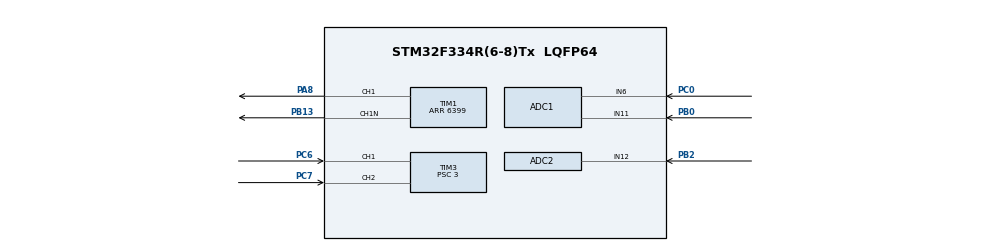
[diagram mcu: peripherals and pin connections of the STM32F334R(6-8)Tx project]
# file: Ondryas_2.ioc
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ADC1.Channel-0\#ChannelRegularConversion=ADC_CHANNEL_6
ADC1.Channel-1\#ChannelRegularConversion=ADC_CHANNEL_11
ADC1.DMAContinuousRequests=ENABLE
ADC1.EOCSelection=ADC_EOC_SEQ_CONV
ADC1.EnableInjectedConversion=DISABLE
ADC1.ExternalTrigConv=ADC_EXTERNALTRIGCONV_T1_TRGO2
ADC1.Mode=ADC_MODE_INDEPENDENT
ADC1.NbrOfConversion=2
ADC1.NbrOfConversionFlag=1
ADC1.Offset-0\#ChannelRegularConversion=2048
ADC1.Offset-1\#ChannelRegularConversion=2048
ADC1.OffsetNumber-0\#ChannelRegularConversion=ADC_OFFSET_1
ADC1.OffsetNumber-1\#ChannelRegularConversion=ADC_OFFSET_NONE
ADC1.Rank-0\#ChannelRegularConversion=1
ADC1.Rank-1\#ChannelRegularConversion=2
ADC1.SamplingTime-0\#ChannelRegularConversion=ADC_SAMPLETIME_19CYCLES_5
ADC1.SamplingTime-1\#ChannelRegularConversion=ADC_SAMPLETIME_61CYCLES_5
ADC1.SubFamily=STM32F334x8
ADC1.master=1
ADC2.Channel-0\#ChannelRegularConversion=ADC_CHANNEL_12
ADC2.ContinuousConvMode=DISABLE
ADC2.DMAContinuousRequests=ENABLE
ADC2.EOCSelection=ADC_EOC_SINGLE_CONV
ADC2.EnableInjectedConversion=DISABLE
ADC2.ExternalTrigConv=ADC_EXTERNALTRIGCONV_T1_TRGO2
ADC2.NbrOfConversionFlag=1
ADC2.Offset-0\#ChannelRegularConversion=0
ADC2.OffsetNumber-0\#ChannelRegularConversion=ADC_OFFSET_NONE
ADC2.Rank-0\#ChannelRegularConversion=1
ADC2.SamplingTime-0\#ChannelRegularConversion=ADC_SAMPLETIME_61CYCLES_5
ADC2.SubFamily=STM32F334x8
Dma.ADC1.0.Direction=DMA_PERIPH_TO_MEMORY
Dma.ADC1.0.Instance=DMA1_Channel1
Dma.ADC1.0.MemDataAlignment=DMA_MDATAALIGN_HALFWORD
Dma.ADC1.0.MemInc=DMA_MINC_ENABLE
Dma.ADC1.0.Mode=DMA_CIRCULAR
Dma.ADC1.0.PeriphDataAlignment=DMA_PDATAALIGN_HALFWORD
Dma.ADC1.0.PeriphInc=DMA_PINC_DISABLE
Dma.ADC1.0.Priority=DMA_PRIORITY_LOW
Dma.ADC2.1.Direction=DMA_PERIPH_TO_MEMORY
Dma.ADC2.1.Instance=DMA1_Channel2
Dma.ADC2.1.MemDataAlignment=DMA_MDATAALIGN_HALFWORD
Dma.ADC2.1.MemInc=DMA_MINC_DISABLE
Dma.ADC2.1.Mode=DMA_CIRCULAR
Dma.ADC2.1.PeriphDataAlignment=DMA_PDATAALIGN_HALFWORD
Dma.ADC2.1.PeriphInc=DMA_PINC_DISABLE
Dma.ADC2.1.Priority=DMA_PRIORITY_LOW
Dma.Request0=ADC1
Dma.Request1=ADC2
Mcu.Family=STM32F3
Mcu.Name=STM32F334R(6-8)Tx
Mcu.Package=LQFP64
NVIC.DMA1_Channel1_IRQn=true\:0\:0\:false\:false\:true\:false\:true
NVIC.DMA1_Channel2_IRQn=true\:0\:0\:false\:false\:true\:false\:true
NVIC.PriorityGroup=NVIC_PRIORITYGROUP_0
PA13.Mode=Trace_Asynchronous_SW
PA13.Signal=SYS_JTMS-SWDIO
PA14.Mode=Trace_Asynchronous_SW
PA14.Signal=SYS_JTCK-SWCLK
PA8.Signal=S_TIM1_CH1
PB0.Mode=IN11-Single-Ended
PB0.Signal=ADC1_IN11
PB13.Mode=PWM Generation1 CH1 CH1N
PB13.Signal=TIM1_CH1N
PB2.Mode=IN12-Single-Ended
PB2.Signal=ADC2_IN12
PB3.Mode=Trace_Asynchronous_SW
PB3.Signal=SYS_JTDO-TRACESWO
PC0.Signal=ADCx_IN6
PC6.Signal=S_TIM3_CH1
PC7.Signal=S_TIM3_CH2
ProjectManager.HeapSize=0x200
ProjectManager.StackSize=0x400
ProjectManager.TargetToolchain=STM32CubeIDE
RCC.AHBFreq_Value=64000000
RCC.APB1CLKDivider=RCC_HCLK_DIV2
RCC.APB1Freq_Value=32000000
RCC.APB1TimFreq_Value=64000000
RCC.APB2Freq_Value=64000000
RCC.APB2TimFreq_Value=64000000
RCC.CortexFreq_Value=64000000
RCC.FLatency-AdvancedSettings=FLASH_LATENCY_2
RCC.HCLKFreq_Value=64000000
RCC.HSE_VALUE=8000000
RCC.HSI_VALUE=8000000
RCC.LSE_VALUE=32768
RCC.PLLMUL=RCC_PLL_MUL16
RCC.SYSCLKFreq_VALUE=64000000
RCC.SYSCLKSourceVirtual=RCC_SYSCLKSOURCE_PLLCLK
RCC.TIM1Selection=RCC_TIM1CLK_PLLCLK
SH.ADCx_IN6.0=ADC1_IN6,IN6-Single-Ended
SH.S_TIM1_CH1.0=TIM1_CH1,PWM Generation1 CH1 CH1N
SH.S_TIM3_CH1.0=TIM3_CH1,Encoder_Interface
SH.S_TIM3_CH2.0=TIM3_CH2,Encoder_Interface
TIM1.AutoReloadPreload=TIM_AUTORELOAD_PRELOAD_ENABLE
TIM1.Channel-PWM\ Generation1\ CH1\ CH1N=TIM_CHANNEL_1
TIM1.Channel-PWM\ Generation6\ No\ Output=TIM_CHANNEL_6
TIM1.CounterMode=TIM_COUNTERMODE_CENTERALIGNED1
TIM1.DeadTime=127
TIM1.Period=6399
TIM1.Pulse-PWM\ Generation1\ CH1\ CH1N=0
TIM1.Pulse-PWM\ Generation6\ No\ Output=6398
TIM1.TIM_MasterOutputTrigger2=TIM_TRGO2_OC6REF
TIM3.EncoderMode=TIM_ENCODERMODE_TI12
TIM3.IC1Filter=5
TIM3.IC1Polarity=TIM_ICPOLARITY_FALLING
TIM3.IC2Filter=5
TIM3.IC2Polarity=TIM_ICPOLARITY_FALLING
TIM3.Period=23
TIM3.Prescaler=3
TIM3.TIM_MasterOutputTrigger=TIM_TRGO_UPDATE
TIM3.TIM_MasterSlaveMode=TIM_MASTERSLAVEMODE_ENABLE
VP_TIM1_VS_ClockSourceINT.Mode=Internal
VP_TIM1_VS_no_output6.Mode=PWM Generation6 No Output
board=NUCLEO-F334R8

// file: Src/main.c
/* USER CODE BEGIN Header */
/**
  ******************************************************************************
  * @file           : main.c
  * @brief          : Main program body
  ******************************************************************************
  * @attention
  *
  * <h2><center>&copy; Copyright (c) 2020 STMicroelectronics.
  * All rights reserved.</center></h2>
  *
  * This software component is licensed by ST under BSD 3-Clause license,
  * the "License"; You may not use this file except in compliance with the
  * License. You may obtain a copy of the License at:
  *                        opensource.org/licenses/BSD-3-Clause
  *
  ******************************************************************************
  */
/* USER CODE END Header */

#include "main.h"

/* USER CODE BEGIN PV */
// Promenne pro napeti meziobvodu a proud vetvi z ADc
measurements_t Measurements;

Type_PI_Napeti struktura_PI_napeti;
Type_PI_Proud struktura_PI_proud;
Type_FiltrMenic struktura_menic;
Type_RL_Obvod struktura_RL_obvod;
Type_Kondenzator struktura_kondenzator;

Type_PointerStructure pointer_structure;

/* USER CODE END PV */

void SystemClock_Config(void);
static void MX_GPIO_Init(void);
static void MX_DMA_Init(void);
static void MX_ADC1_Init(void);
static void MX_ADC2_Init(void);
static void MX_TIM1_Init(void);
static void MX_TIM3_Init(void);
/* USER CODE BEGIN PFP */
void PointersInit(Type_PointerStructure *pointer_structure);
/* USER CODE END PFP */

int main(void)
{

  /* MCU Configuration--------------------------------------------------------*/

  /* Reset of all peripherals, Initializes the Flash interface and the Systick. */

  LL_APB2_GRP1_EnableClock(LL_APB2_GRP1_PERIPH_SYSCFG);
  LL_APB1_GRP1_EnableClock(LL_APB1_GRP1_PERIPH_PWR);

  NVIC_SetPriorityGrouping(NVIC_PRIORITYGROUP_0);

  /* System interrupt init*/

  /* USER CODE BEGIN Init */

  // Inicializace struktury pointeru

  PointersInit(&pointer_structure); // vstupem je pointer na strukturu pointeru a promennych

  // Inicializace hodnot Proudove Smycky
  KaskadniRegulaceInit(&pointer_structure);

  /* USER CODE END Init */

  /* Configure the system clock */
  SystemClock_Config();

  /* Initialize all configured peripherals */
  MX_GPIO_Init();
  MX_DMA_Init();
  MX_ADC1_Init();
  MX_ADC2_Init();
  MX_TIM1_Init();
  MX_TIM3_Init();
  /* USER CODE BEGIN 2 */

  LL_SYSTICK_EnableIT();
  // Init sekvence DMA, adresy atd
  // Nastaveni zdrojove adresy, odkud ma brat hodnoty, tedy ADc

  // CHANNEL 1, Synch. mereni proudu a napeti meziobvodu
  LL_DMA_SetPeriphAddress(DMA1, LL_DMA_CHANNEL_1, LL_ADC_DMA_GetRegAddr(ADC1, LL_ADC_DMA_REG_REGULAR_DATA));

  // CHANNEL 2, Continuous mereni hodnoty Potenciometru
  LL_DMA_SetPeriphAddress(DMA1, LL_DMA_CHANNEL_2, LL_ADC_DMA_GetRegAddr(ADC2, LL_ADC_DMA_REG_REGULAR_DATA));

  // nastaveni cilove adresy DMA
  LL_DMA_SetMemoryAddress(DMA1, LL_DMA_CHANNEL_1,(uint32_t) &Measurements);
  LL_DMA_SetMemoryAddress(DMA1, LL_DMA_CHANNEL_2, (uint32_t) &pointer_structure.PotValue);

  // nastaveni poctu prenasenych dat = pocet prvku pole = pocet AD prevodu
  LL_DMA_SetDataLength(DMA1, LL_DMA_CHANNEL_1, 2);
  LL_DMA_SetDataLength(DMA1, LL_DMA_CHANNEL_2, 1);

  // povoleni DMA
  LL_DMA_EnableChannel(DMA1, LL_DMA_CHANNEL_1);
  LL_DMA_EnableChannel(DMA1, LL_DMA_CHANNEL_2);

  //povoleni preruseni od DMA
  LL_DMA_EnableIT_TC(DMA1, LL_DMA_CHANNEL_1);

  // Init sekvence ADC1 a ADC2
  // Povoleni interniho regulatoru a pockani na ustaleni jeho napeti, pote kalibrace a povoleni
  LL_ADC_EnableInternalRegulator(ADC1);
  LL_ADC_EnableInternalRegulator(ADC2);
  uint32_t cekej10mili = 640000;
  while(--cekej10mili)__NOP();

  // Zahajeni Kalibrace
  LL_ADC_StartCalibration(ADC1, LL_ADC_SINGLE_ENDED);
  LL_ADC_StartCalibration(ADC2, LL_ADC_SINGLE_ENDED);
  while(LL_ADC_IsCalibrationOnGoing(ADC1));
  while(LL_ADC_IsCalibrationOnGoing(ADC2));

  //povoleni ADc
  LL_ADC_Enable(ADC1);
  LL_ADC_Enable(ADC2);

  // zahajit konverzi dat
  LL_ADC_REG_StartConversion(ADC1);
  LL_ADC_REG_StartConversion(ADC2);

  // Povoleni a spusteni timeru PWM
  LL_TIM_CC_EnableChannel(TIM1, LL_TIM_CHANNEL_CH1 | LL_TIM_CHANNEL_CH1N);
  LL_TIM_EnableAllOutputs(TIM1);
  LL_TIM_EnableCounter(TIM1);
  LL_TIM_OC_SetCompareCH1(TIM1, 6000); // libovolna pocatecni strida

  // Povoleni a spusteni TIM3 pro enkoder
  LL_TIM_EnableCounter(TIM3);

  /* USER CODE END 2 */

  /* Infinite loop */
  while (1)
  {

  }
}

void SystemClock_Config(void)
{
  LL_FLASH_SetLatency(LL_FLASH_LATENCY_2);

   if(LL_FLASH_GetLatency() != LL_FLASH_LATENCY_2)
  {
  Error_Handler();
  }
  LL_RCC_HSI_Enable();

   /* Wait till HSI is ready */
  while(LL_RCC_HSI_IsReady() != 1)
  {

  }
  LL_RCC_HSI_SetCalibTrimming(16);
  LL_RCC_PLL_ConfigDomain_SYS(LL_RCC_PLLSOURCE_HSI_DIV_2, LL_RCC_PLL_MUL_16);
  LL_RCC_PLL_Enable();

   /* Wait till PLL is ready */
  while(LL_RCC_PLL_IsReady() != 1)
  {

  }
  LL_RCC_SetAHBPrescaler(LL_RCC_SYSCLK_DIV_1);
  LL_RCC_SetAPB1Prescaler(LL_RCC_APB1_DIV_2);
  LL_RCC_SetAPB2Prescaler(LL_RCC_APB1_DIV_1);
  LL_RCC_SetSysClkSource(LL_RCC_SYS_CLKSOURCE_PLL);

   /* Wait till System clock is ready */
  while(LL_RCC_GetSysClkSource() != LL_RCC_SYS_CLKSOURCE_STATUS_PLL)
  {

  }
  LL_Init1msTick(64000000);
  LL_SetSystemCoreClock(64000000);
  LL_RCC_SetTIMClockSource(LL_RCC_TIM1_CLKSOURCE_PLL);
  LL_RCC_SetADCClockSource(LL_RCC_ADC12_CLKSRC_PLL_DIV_1);
}

static void MX_ADC1_Init(void)
{

  LL_ADC_InitTypeDef ADC_InitStruct = {0};
  LL_ADC_REG_InitTypeDef ADC_REG_InitStruct = {0};
  LL_ADC_CommonInitTypeDef ADC_CommonInitStruct = {0};

  LL_GPIO_InitTypeDef GPIO_InitStruct = {0};

  /* Peripheral clock enable */
  LL_AHB1_GRP1_EnableClock(LL_AHB1_GRP1_PERIPH_ADC12);

  LL_AHB1_GRP1_EnableClock(LL_AHB1_GRP1_PERIPH_GPIOC);
  LL_AHB1_GRP1_EnableClock(LL_AHB1_GRP1_PERIPH_GPIOB);
  /**ADC1 GPIO Configuration
  PC0   ------> ADC1_IN6
  PB0   ------> ADC1_IN11
  */
  GPIO_InitStruct.Pin = LL_GPIO_PIN_0;
  GPIO_InitStruct.Mode = LL_GPIO_MODE_ANALOG;
  GPIO_InitStruct.Pull = LL_GPIO_PULL_NO;
  LL_GPIO_Init(GPIOC, &GPIO_InitStruct);

  GPIO_InitStruct.Pin = LL_GPIO_PIN_0;
  GPIO_InitStruct.Mode = LL_GPIO_MODE_ANALOG;
  GPIO_InitStruct.Pull = LL_GPIO_PULL_NO;
  LL_GPIO_Init(GPIOB, &GPIO_InitStruct);

  /* ADC1 DMA Init */

  /* ADC1 Init */
  LL_DMA_SetDataTransferDirection(DMA1, LL_DMA_CHANNEL_1, LL_DMA_DIRECTION_PERIPH_TO_MEMORY);

  LL_DMA_SetChannelPriorityLevel(DMA1, LL_DMA_CHANNEL_1, LL_DMA_PRIORITY_LOW);

  LL_DMA_SetMode(DMA1, LL_DMA_CHANNEL_1, LL_DMA_MODE_CIRCULAR);

  LL_DMA_SetPeriphIncMode(DMA1, LL_DMA_CHANNEL_1, LL_DMA_PERIPH_NOINCREMENT);

  LL_DMA_SetMemoryIncMode(DMA1, LL_DMA_CHANNEL_1, LL_DMA_MEMORY_INCREMENT);

  LL_DMA_SetPeriphSize(DMA1, LL_DMA_CHANNEL_1, LL_DMA_PDATAALIGN_HALFWORD);

  LL_DMA_SetMemorySize(DMA1, LL_DMA_CHANNEL_1, LL_DMA_MDATAALIGN_HALFWORD);

  /** Common config
  */
  ADC_InitStruct.Resolution = LL_ADC_RESOLUTION_12B;
  ADC_InitStruct.DataAlignment = LL_ADC_DATA_ALIGN_RIGHT;
  ADC_InitStruct.LowPowerMode = LL_ADC_LP_MODE_NONE;
  LL_ADC_Init(ADC1, &ADC_InitStruct);
  ADC_REG_InitStruct.TriggerSource = LL_ADC_REG_TRIG_EXT_TIM1_TRGO2;
  ADC_REG_InitStruct.SequencerLength = LL_ADC_REG_SEQ_SCAN_ENABLE_2RANKS;
  ADC_REG_InitStruct.SequencerDiscont = LL_ADC_REG_SEQ_DISCONT_DISABLE;
  ADC_REG_InitStruct.ContinuousMode = LL_ADC_REG_CONV_SINGLE;
  ADC_REG_InitStruct.DMATransfer = LL_ADC_REG_DMA_TRANSFER_UNLIMITED;
  ADC_REG_InitStruct.Overrun = LL_ADC_REG_OVR_DATA_OVERWRITTEN;
  LL_ADC_REG_Init(ADC1, &ADC_REG_InitStruct);
  LL_ADC_DisableIT_EOC(ADC1);
  LL_ADC_DisableIT_EOS(ADC1);
  ADC_CommonInitStruct.CommonClock = LL_ADC_CLOCK_ASYNC_DIV1;
  ADC_CommonInitStruct.Multimode = LL_ADC_MULTI_INDEPENDENT;
  LL_ADC_CommonInit(__LL_ADC_COMMON_INSTANCE(ADC1), &ADC_CommonInitStruct);
  LL_ADC_REG_SetTriggerEdge(ADC1, LL_ADC_REG_TRIG_EXT_RISING);
  /** Configure Regular Channel
  */
  LL_ADC_REG_SetSequencerRanks(ADC1, LL_ADC_REG_RANK_1, LL_ADC_CHANNEL_6);
  LL_ADC_SetChannelSamplingTime(ADC1, LL_ADC_CHANNEL_6, LL_ADC_SAMPLINGTIME_19CYCLES_5);
  LL_ADC_SetChannelSingleDiff(ADC1, LL_ADC_CHANNEL_6, LL_ADC_SINGLE_ENDED);
  LL_ADC_SetOffset(ADC1, LL_ADC_OFFSET_1, LL_ADC_CHANNEL_6, 2048);
  /** Configure Regular Channel
  */
  LL_ADC_REG_SetSequencerRanks(ADC1, LL_ADC_REG_RANK_2, LL_ADC_CHANNEL_11);
  LL_ADC_SetChannelSamplingTime(ADC1, LL_ADC_CHANNEL_11, LL_ADC_SAMPLINGTIME_61CYCLES_5);
  LL_ADC_SetChannelSingleDiff(ADC1, LL_ADC_CHANNEL_11, LL_ADC_SINGLE_ENDED);

}

static void MX_ADC2_Init(void)
{

  LL_ADC_InitTypeDef ADC_InitStruct = {0};
  LL_ADC_REG_InitTypeDef ADC_REG_InitStruct = {0};

  LL_GPIO_InitTypeDef GPIO_InitStruct = {0};

  /* Peripheral clock enable */
  LL_AHB1_GRP1_EnableClock(LL_AHB1_GRP1_PERIPH_ADC12);

  LL_AHB1_GRP1_EnableClock(LL_AHB1_GRP1_PERIPH_GPIOB);
  /**ADC2 GPIO Configuration
  PB2   ------> ADC2_IN12
  */
  GPIO_InitStruct.Pin = LL_GPIO_PIN_2;
  GPIO_InitStruct.Mode = LL_GPIO_MODE_ANALOG;
  GPIO_InitStruct.Pull = LL_GPIO_PULL_NO;
  LL_GPIO_Init(GPIOB, &GPIO_InitStruct);

  /* ADC2 DMA Init */

  /* ADC2 Init */
  LL_DMA_SetDataTransferDirection(DMA1, LL_DMA_CHANNEL_2, LL_DMA_DIRECTION_PERIPH_TO_MEMORY);

  LL_DMA_SetChannelPriorityLevel(DMA1, LL_DMA_CHANNEL_2, LL_DMA_PRIORITY_LOW);

  LL_DMA_SetMode(DMA1, LL_DMA_CHANNEL_2, LL_DMA_MODE_CIRCULAR);

  LL_DMA_SetPeriphIncMode(DMA1, LL_DMA_CHANNEL_2, LL_DMA_PERIPH_NOINCREMENT);

  LL_DMA_SetMemoryIncMode(DMA1, LL_DMA_CHANNEL_2, LL_DMA_MEMORY_NOINCREMENT);

  LL_DMA_SetPeriphSize(DMA1, LL_DMA_CHANNEL_2, LL_DMA_PDATAALIGN_HALFWORD);

  LL_DMA_SetMemorySize(DMA1, LL_DMA_CHANNEL_2, LL_DMA_MDATAALIGN_HALFWORD);

  /** Common config
  */
  ADC_InitStruct.Resolution = LL_ADC_RESOLUTION_12B;
  ADC_InitStruct.DataAlignment = LL_ADC_DATA_ALIGN_RIGHT;
  ADC_InitStruct.LowPowerMode = LL_ADC_LP_MODE_NONE;
  LL_ADC_Init(ADC2, &ADC_InitStruct);
  ADC_REG_InitStruct.TriggerSource = LL_ADC_REG_TRIG_EXT_TIM1_TRGO2;
  ADC_REG_InitStruct.SequencerLength = LL_ADC_REG_SEQ_SCAN_DISABLE;
  ADC_REG_InitStruct.SequencerDiscont = LL_ADC_REG_SEQ_DISCONT_DISABLE;
  ADC_REG_InitStruct.ContinuousMode = LL_ADC_REG_CONV_SINGLE;
  ADC_REG_InitStruct.DMATransfer = LL_ADC_REG_DMA_TRANSFER_UNLIMITED;
  ADC_REG_InitStruct.Overrun = LL_ADC_REG_OVR_DATA_OVERWRITTEN;
  LL_ADC_REG_Init(ADC2, &ADC_REG_InitStruct);
  LL_ADC_DisableIT_EOC(ADC2);
  LL_ADC_DisableIT_EOS(ADC2);
  LL_ADC_REG_SetTriggerEdge(ADC2, LL_ADC_REG_TRIG_EXT_RISING);
  /** Configure Regular Channel
  */
  LL_ADC_REG_SetSequencerRanks(ADC2, LL_ADC_REG_RANK_1, LL_ADC_CHANNEL_12);
  LL_ADC_SetChannelSamplingTime(ADC2, LL_ADC_CHANNEL_12, LL_ADC_SAMPLINGTIME_61CYCLES_5);
  LL_ADC_SetChannelSingleDiff(ADC2, LL_ADC_CHANNEL_12, LL_ADC_SINGLE_ENDED);

}

static void MX_TIM1_Init(void)
{

  LL_TIM_InitTypeDef TIM_InitStruct = {0};
  LL_TIM_OC_InitTypeDef TIM_OC_InitStruct = {0};
  LL_TIM_BDTR_InitTypeDef TIM_BDTRInitStruct = {0};

  LL_GPIO_InitTypeDef GPIO_InitStruct = {0};

  /* Peripheral clock enable */
  LL_APB2_GRP1_EnableClock(LL_APB2_GRP1_PERIPH_TIM1);

  TIM_InitStruct.Prescaler = 0;
  TIM_InitStruct.CounterMode = LL_TIM_COUNTERMODE_CENTER_UP;
  TIM_InitStruct.Autoreload = 6399;
  TIM_InitStruct.ClockDivision = LL_TIM_CLOCKDIVISION_DIV1;
  TIM_InitStruct.RepetitionCounter = 0;
  LL_TIM_Init(TIM1, &TIM_InitStruct);
  LL_TIM_EnableARRPreload(TIM1);
  LL_TIM_SetClockSource(TIM1, LL_TIM_CLOCKSOURCE_INTERNAL);
  LL_TIM_OC_EnablePreload(TIM1, LL_TIM_CHANNEL_CH1);
  TIM_OC_InitStruct.OCMode = LL_TIM_OCMODE_PWM1;
  TIM_OC_InitStruct.OCState = LL_TIM_OCSTATE_DISABLE;
  TIM_OC_InitStruct.OCNState = LL_TIM_OCSTATE_DISABLE;
  TIM_OC_InitStruct.CompareValue = 0;
  TIM_OC_InitStruct.OCPolarity = LL_TIM_OCPOLARITY_HIGH;
  TIM_OC_InitStruct.OCNPolarity = LL_TIM_OCPOLARITY_HIGH;
  TIM_OC_InitStruct.OCIdleState = LL_TIM_OCIDLESTATE_LOW;
  TIM_OC_InitStruct.OCNIdleState = LL_TIM_OCIDLESTATE_LOW;
  LL_TIM_OC_Init(TIM1, LL_TIM_CHANNEL_CH1, &TIM_OC_InitStruct);
  LL_TIM_OC_DisableFast(TIM1, LL_TIM_CHANNEL_CH1);
  LL_TIM_OC_EnablePreload(TIM1, LL_TIM_CHANNEL_CH6);
  TIM_OC_InitStruct.OCState = LL_TIM_OCSTATE_DISABLE;
  TIM_OC_InitStruct.OCNState = LL_TIM_OCSTATE_DISABLE;
  TIM_OC_InitStruct.CompareValue = 6398;
  LL_TIM_OC_Init(TIM1, LL_TIM_CHANNEL_CH6, &TIM_OC_InitStruct);
  LL_TIM_OC_DisableFast(TIM1, LL_TIM_CHANNEL_CH6);
  LL_TIM_SetTriggerOutput(TIM1, LL_TIM_TRGO_RESET);
  LL_TIM_SetTriggerOutput2(TIM1, LL_TIM_TRGO2_OC6);
  LL_TIM_DisableMasterSlaveMode(TIM1);
  TIM_BDTRInitStruct.OSSRState = LL_TIM_OSSR_DISABLE;
  TIM_BDTRInitStruct.OSSIState = LL_TIM_OSSI_DISABLE;
  TIM_BDTRInitStruct.LockLevel = LL_TIM_LOCKLEVEL_OFF;
  TIM_BDTRInitStruct.DeadTime = 127;
  TIM_BDTRInitStruct.BreakState = LL_TIM_BREAK_DISABLE;
  TIM_BDTRInitStruct.BreakPolarity = LL_TIM_BREAK_POLARITY_HIGH;
  TIM_BDTRInitStruct.BreakFilter = LL_TIM_BREAK_FILTER_FDIV1;
  TIM_BDTRInitStruct.Break2State = LL_TIM_BREAK2_DISABLE;
  TIM_BDTRInitStruct.Break2Polarity = LL_TIM_BREAK2_POLARITY_HIGH;
  TIM_BDTRInitStruct.Break2Filter = LL_TIM_BREAK2_FILTER_FDIV1;
  TIM_BDTRInitStruct.AutomaticOutput = LL_TIM_AUTOMATICOUTPUT_DISABLE;
  LL_TIM_BDTR_Init(TIM1, &TIM_BDTRInitStruct);
  LL_AHB1_GRP1_EnableClock(LL_AHB1_GRP1_PERIPH_GPIOB);
  LL_AHB1_GRP1_EnableClock(LL_AHB1_GRP1_PERIPH_GPIOA);
  /**TIM1 GPIO Configuration
  PB13   ------> TIM1_CH1N
  PA8   ------> TIM1_CH1
  */
  GPIO_InitStruct.Pin = LL_GPIO_PIN_13;
  GPIO_InitStruct.Mode = LL_GPIO_MODE_ALTERNATE;
  GPIO_InitStruct.Speed = LL_GPIO_SPEED_FREQ_LOW;
  GPIO_InitStruct.OutputType = LL_GPIO_OUTPUT_PUSHPULL;
  GPIO_InitStruct.Pull = LL_GPIO_PULL_NO;
  GPIO_InitStruct.Alternate = LL_GPIO_AF_6;
  LL_GPIO_Init(GPIOB, &GPIO_InitStruct);

  GPIO_InitStruct.Pin = LL_GPIO_PIN_8;
  GPIO_InitStruct.Mode = LL_GPIO_MODE_ALTERNATE;
  GPIO_InitStruct.Speed = LL_GPIO_SPEED_FREQ_LOW;
  GPIO_InitStruct.OutputType = LL_GPIO_OUTPUT_PUSHPULL;
  GPIO_InitStruct.Pull = LL_GPIO_PULL_NO;
  GPIO_InitStruct.Alternate = LL_GPIO_AF_6;
  LL_GPIO_Init(GPIOA, &GPIO_InitStruct);

}

static void MX_TIM3_Init(void)
{

  LL_TIM_InitTypeDef TIM_InitStruct = {0};

  LL_GPIO_InitTypeDef GPIO_InitStruct = {0};

  /* Peripheral clock enable */
  LL_APB1_GRP1_EnableClock(LL_APB1_GRP1_PERIPH_TIM3);

  LL_AHB1_GRP1_EnableClock(LL_AHB1_GRP1_PERIPH_GPIOC);
  /**TIM3 GPIO Configuration
  PC6   ------> TIM3_CH1
  PC7   ------> TIM3_CH2
  */
  GPIO_InitStruct.Pin = LL_GPIO_PIN_6|LL_GPIO_PIN_7;
  GPIO_InitStruct.Mode = LL_GPIO_MODE_ALTERNATE;
  GPIO_InitStruct.Speed = LL_GPIO_SPEED_FREQ_LOW;
  GPIO_InitStruct.OutputType = LL_GPIO_OUTPUT_PUSHPULL;
  GPIO_InitStruct.Pull = LL_GPIO_PULL_NO;
  GPIO_InitStruct.Alternate = LL_GPIO_AF_2;
  LL_GPIO_Init(GPIOC, &GPIO_InitStruct);

  TIM_InitStruct.Prescaler = 3;
  TIM_InitStruct.CounterMode = LL_TIM_COUNTERMODE_UP;
  TIM_InitStruct.Autoreload = 23;
  TIM_InitStruct.ClockDivision = LL_TIM_CLOCKDIVISION_DIV1;
  LL_TIM_Init(TIM3, &TIM_InitStruct);
  LL_TIM_DisableARRPreload(TIM3);
  LL_TIM_SetEncoderMode(TIM3, LL_TIM_ENCODERMODE_X4_TI12);
  LL_TIM_IC_SetActiveInput(TIM3, LL_TIM_CHANNEL_CH1, LL_TIM_ACTIVEINPUT_DIRECTTI);
  LL_TIM_IC_SetPrescaler(TIM3, LL_TIM_CHANNEL_CH1, LL_TIM_ICPSC_DIV1);
  LL_TIM_IC_SetFilter(TIM3, LL_TIM_CHANNEL_CH1, LL_TIM_IC_FILTER_FDIV2_N8);
  LL_TIM_IC_SetPolarity(TIM3, LL_TIM_CHANNEL_CH1, LL_TIM_IC_POLARITY_FALLING);
  LL_TIM_IC_SetActiveInput(TIM3, LL_TIM_CHANNEL_CH2, LL_TIM_ACTIVEINPUT_DIRECTTI);
  LL_TIM_IC_SetPrescaler(TIM3, LL_TIM_CHANNEL_CH2, LL_TIM_ICPSC_DIV1);
  LL_TIM_IC_SetFilter(TIM3, LL_TIM_CHANNEL_CH2, LL_TIM_IC_FILTER_FDIV2_N8);
  LL_TIM_IC_SetPolarity(TIM3, LL_TIM_CHANNEL_CH2, LL_TIM_IC_POLARITY_FALLING);
  LL_TIM_SetTriggerOutput(TIM3, LL_TIM_TRGO_UPDATE);
  LL_TIM_EnableMasterSlaveMode(TIM3);

}

static void MX_DMA_Init(void)
{

  /* Init with LL driver */
  /* DMA controller clock enable */
  LL_AHB1_GRP1_EnableClock(LL_AHB1_GRP1_PERIPH_DMA1);

  /* DMA interrupt init */
  /* DMA1_Channel1_IRQn interrupt configuration */
  NVIC_SetPriority(DMA1_Channel1_IRQn, NVIC_EncodePriority(NVIC_GetPriorityGrouping(),0, 0));
  NVIC_EnableIRQ(DMA1_Channel1_IRQn);
  /* DMA1_Channel2_IRQn interrupt configuration */
  NVIC_SetPriority(DMA1_Channel2_IRQn, NVIC_EncodePriority(NVIC_GetPriorityGrouping(),0, 0));
  NVIC_EnableIRQ(DMA1_Channel2_IRQn);

}

static void MX_GPIO_Init(void)
{

  /* GPIO Ports Clock Enable */
  LL_AHB1_GRP1_EnableClock(LL_AHB1_GRP1_PERIPH_GPIOC);
  LL_AHB1_GRP1_EnableClock(LL_AHB1_GRP1_PERIPH_GPIOB);
  LL_AHB1_GRP1_EnableClock(LL_AHB1_GRP1_PERIPH_GPIOA);

}

/* USER CODE BEGIN 4 */
void PointersInit(Type_PointerStructure *pointer_structure){

	//prirazovani pointeru na jednotlive struktury

	pointer_structure->p_PI_napeti = &struktura_PI_napeti;
	pointer_structure->p_PI_proud = &struktura_PI_proud;
	pointer_structure->p_menic = &struktura_menic;
	pointer_structure->p_RL_obvod = &struktura_RL_obvod;
	pointer_structure->p_kondenzator = &struktura_kondenzator;
}
/* USER CODE END 4 */

void Error_Handler(void)
{
}

/************************ (C) COPYRIGHT STMicroelectronics *****END OF FILE****/
